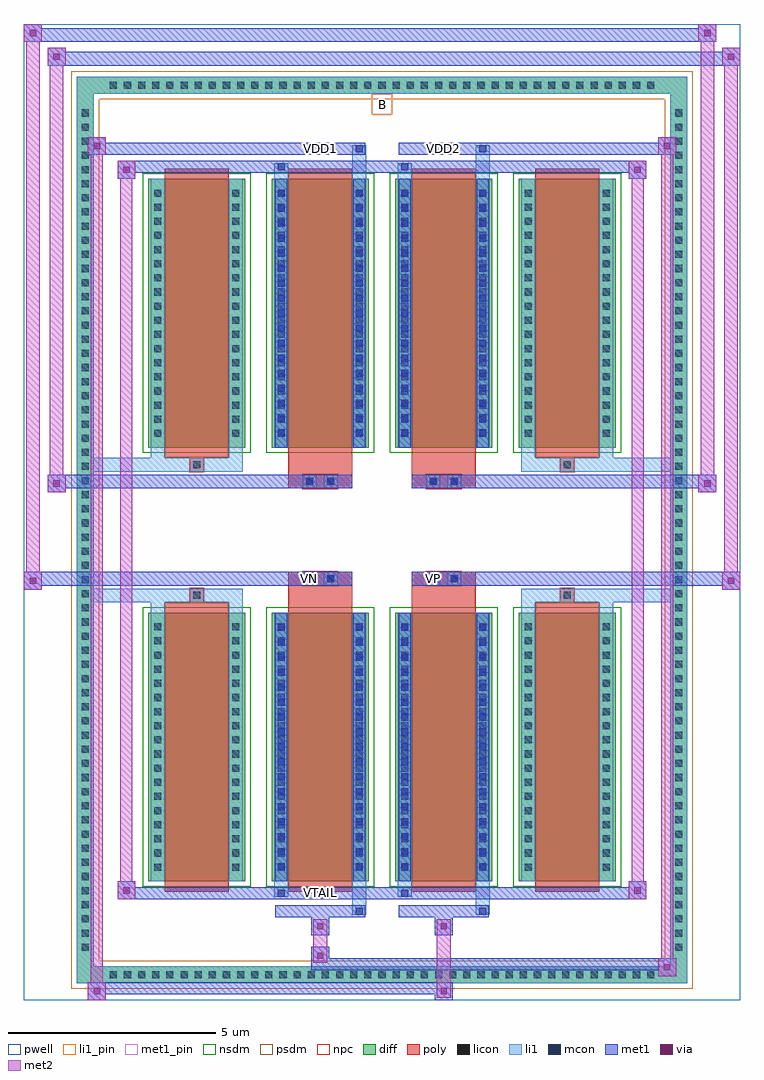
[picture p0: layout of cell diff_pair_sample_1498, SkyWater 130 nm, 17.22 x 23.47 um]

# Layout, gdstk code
import gdstk
lib = gdstk.Library(unit=1e-6, precision=5e-09)
def R(c, l, rs):  # rectangles x0, y0, x1, y1
    for r in rs: c.add(gdstk.rectangle(r[:2], r[2:], *l))
def A(c, l, x, y, w, h, nx, ny, dx, dy):  # array of equal rectangles
    R(c, l, [(x+i*dx, y+j*dy, x+i*dx+w, y+j*dy+h) for i in range(nx) for j in range(ny)])
def P(c, l, *ps):  # polygons
    for p in ps: c.add(gdstk.Polygon(p, *l))
pwell = (64, 44)
diff = (65, 20)
poly = (66, 20)
licon = (66, 44)
li1_pin = (67, 16)
li1 = (67, 20)
mcon = (67, 44)
met1_pin = (68, 16)
met1 = (68, 20)
via = (68, 44)
met2 = (69, 20)
nsdm = (93, 44)
psdm = (94, 20)
npc = (95, 20)

diff_pair_sample_1498 = lib.new_cell('diff_pair_sample_1498')
R(diff_pair_sample_1498, pwell, [(-8.61,-11.3,8.61,12.17), (-5.93,-9.49,-0.01,-0.805), (0.01,-9.49,5.93,-0.805), (-5.93,0.805,-0.01,9.49), (0.01,0.805,5.93,9.49)])
A(diff_pair_sample_1498, diff, -6.665, -10.9, 0.41, 0.41, 39, 2, 0.34, 21.39)
A(diff_pair_sample_1498, diff, -7.34, -10.235, 0.41, 0.41, 1, 60, 0, 0.34)
A(diff_pair_sample_1498, diff, 6.93, -10.235, 0.41, 0.41, 1, 60, 0, 0.34)
A(diff_pair_sample_1498, diff, -5.62, -8.445, 2.33, 6.46, 4, 2, 2.97, 10.43)
R(diff_pair_sample_1498, diff, [(-6.665,-10.9,6.665,-10.49), (-7.34,-10.235,-6.93,10.235), (6.93,-10.235,7.34,10.235), (-6.665,10.49,6.665,10.9)])
P(diff_pair_sample_1498, diff, [(7.34,10.9),(-7.34,10.9),(-7.34,-10.49),(-6.93,-10.49),(-6.93,10.49),(6.93,10.49),(6.93,-10.49),(-6.93,-10.49),(-7.34,-10.49),(-7.34,-10.9),(7.34,-10.9)])
A(diff_pair_sample_1498, poly, -5.23, -8.695, 1.55, 6.96, 4, 2, 2.97, 10.43)
R(diff_pair_sample_1498, poly, [(-4.62,-1.735,-4.29,-1.405), (-4.62,-1.735,-4.29,-1.405), (-2.26,-1.735,-0.71,-1.335), (0.71,-1.735,2.26,-1.335), (4.29,-1.735,4.62,-1.405), (4.29,-1.735,4.62,-1.405), (-2.26,-1.335,-0.71,-1.005), (-1.9,-1.335,-1.57,-1.005), (-1.4,-1.335,-1.07,-1.005), (0.71,-1.335,2.26,-1.005), (1.07,-1.335,1.4,-1.005), (1.57,-1.335,1.9,-1.005), (-2.26,1.005,-0.71,1.335), (-1.9,1.005,-1.57,1.335), (-1.4,1.005,-1.07,1.335), (0.71,1.005,2.26,1.335), (1.07,1.005,1.4,1.335), (1.57,1.005,1.9,1.335), (-2.26,1.335,-0.71,1.735), (0.71,1.335,2.26,1.735), (-4.62,1.405,-4.29,1.735), (-4.62,1.405,-4.29,1.735), (4.29,1.405,4.62,1.735), (4.29,1.405,4.62,1.735)])
A(diff_pair_sample_1498, licon, -6.545, -10.78, 0.17, 0.17, 39, 2, 0.34, 21.39)
A(diff_pair_sample_1498, licon, -7.22, -10.115, 0.17, 0.17, 1, 60, 0, 0.34)
A(diff_pair_sample_1498, licon, 7.05, -10.115, 0.17, 0.17, 1, 60, 0, 0.34)
A(diff_pair_sample_1498, licon, -5.48, -8.19, 0.17, 0.17, 1, 18, 0, 0.34)
A(diff_pair_sample_1498, licon, -3.6, -8.19, 0.17, 0.17, 1, 18, 0, 0.34)
A(diff_pair_sample_1498, licon, -2.51, -8.19, 0.17, 0.17, 1, 18, 0, 0.34)
A(diff_pair_sample_1498, licon, -0.63, -8.19, 0.17, 0.17, 1, 18, 0, 0.34)
A(diff_pair_sample_1498, licon, 0.46, -8.19, 0.17, 0.17, 1, 18, 0, 0.34)
A(diff_pair_sample_1498, licon, 2.34, -8.19, 0.17, 0.17, 1, 18, 0, 0.34)
A(diff_pair_sample_1498, licon, 3.43, -8.19, 0.17, 0.17, 1, 18, 0, 0.34)
A(diff_pair_sample_1498, licon, 5.31, -8.19, 0.17, 0.17, 1, 18, 0, 0.34)
A(diff_pair_sample_1498, licon, -5.48, 2.24, 0.17, 0.17, 1, 18, 0, 0.34)
A(diff_pair_sample_1498, licon, -3.6, 2.24, 0.17, 0.17, 1, 18, 0, 0.34)
A(diff_pair_sample_1498, licon, -2.51, 2.24, 0.17, 0.17, 1, 18, 0, 0.34)
A(diff_pair_sample_1498, licon, -0.63, 2.24, 0.17, 0.17, 1, 18, 0, 0.34)
A(diff_pair_sample_1498, licon, 0.46, 2.24, 0.17, 0.17, 1, 18, 0, 0.34)
A(diff_pair_sample_1498, licon, 2.34, 2.24, 0.17, 0.17, 1, 18, 0, 0.34)
A(diff_pair_sample_1498, licon, 3.43, 2.24, 0.17, 0.17, 1, 18, 0, 0.34)
A(diff_pair_sample_1498, licon, 5.31, 2.24, 0.17, 0.17, 1, 18, 0, 0.34)
R(diff_pair_sample_1498, licon, [(-4.54,-1.655,-4.37,-1.485), (4.37,-1.655,4.54,-1.485), (-1.82,-1.255,-1.65,-1.085), (-1.32,-1.255,-1.15,-1.085), (1.15,-1.255,1.32,-1.085), (1.65,-1.255,1.82,-1.085), (-1.82,1.085,-1.65,1.255), (-1.32,1.085,-1.15,1.255), (1.15,1.085,1.32,1.255), (1.65,1.085,1.82,1.255), (-4.54,1.485,-4.37,1.655), (4.37,1.485,4.54,1.655)])
R(diff_pair_sample_1498, li1_pin, [(-0.25,9.99,0.25,10.49)])
A(diff_pair_sample_1498, li1, -6.625, -10.86, 0.33, 0.33, 39, 2, 0.34, 21.39)
A(diff_pair_sample_1498, li1, -7.3, -10.195, 0.33, 0.33, 1, 60, 0, 0.34)
A(diff_pair_sample_1498, li1, 6.97, -10.195, 0.33, 0.33, 1, 60, 0, 0.34)
A(diff_pair_sample_1498, li1, -5.56, -8.27, 0.33, 0.33, 1, 18, 0, 0.34)
A(diff_pair_sample_1498, li1, -3.68, -8.27, 0.33, 0.33, 1, 18, 0, 0.34)
A(diff_pair_sample_1498, li1, -2.59, -8.27, 0.33, 0.33, 1, 18, 0, 0.34)
A(diff_pair_sample_1498, li1, -0.71, -8.27, 0.33, 0.33, 1, 18, 0, 0.34)
A(diff_pair_sample_1498, li1, 0.38, -8.27, 0.33, 0.33, 1, 18, 0, 0.34)
A(diff_pair_sample_1498, li1, 2.26, -8.27, 0.33, 0.33, 1, 18, 0, 0.34)
A(diff_pair_sample_1498, li1, 3.35, -8.27, 0.33, 0.33, 1, 18, 0, 0.34)
A(diff_pair_sample_1498, li1, 5.23, -8.27, 0.33, 0.33, 1, 18, 0, 0.34)
A(diff_pair_sample_1498, li1, -2.51, -8.18, 0.17, 0.17, 1, 17, 0, 0.36)
A(diff_pair_sample_1498, li1, -0.63, -8.18, 0.17, 0.17, 1, 17, 0, 0.36)
A(diff_pair_sample_1498, li1, 0.46, -8.18, 0.17, 0.17, 1, 17, 0, 0.36)
A(diff_pair_sample_1498, li1, 2.34, -8.18, 0.17, 0.17, 1, 17, 0, 0.36)
A(diff_pair_sample_1498, li1, -5.56, 2.16, 0.33, 0.33, 1, 18, 0, 0.34)
A(diff_pair_sample_1498, li1, -3.68, 2.16, 0.33, 0.33, 1, 18, 0, 0.34)
A(diff_pair_sample_1498, li1, -2.59, 2.16, 0.33, 0.33, 1, 18, 0, 0.34)
A(diff_pair_sample_1498, li1, -0.71, 2.16, 0.33, 0.33, 1, 18, 0, 0.34)
A(diff_pair_sample_1498, li1, 0.38, 2.16, 0.33, 0.33, 1, 18, 0, 0.34)
A(diff_pair_sample_1498, li1, 2.26, 2.16, 0.33, 0.33, 1, 18, 0, 0.34)
A(diff_pair_sample_1498, li1, 3.35, 2.16, 0.33, 0.33, 1, 18, 0, 0.34)
A(diff_pair_sample_1498, li1, 5.23, 2.16, 0.33, 0.33, 1, 18, 0, 0.34)
A(diff_pair_sample_1498, li1, -2.51, 2.25, 0.17, 0.17, 1, 17, 0, 0.36)
A(diff_pair_sample_1498, li1, -0.63, 2.25, 0.17, 0.17, 1, 17, 0, 0.36)
A(diff_pair_sample_1498, li1, 0.46, 2.25, 0.17, 0.17, 1, 17, 0, 0.36)
A(diff_pair_sample_1498, li1, 2.34, 2.25, 0.17, 0.17, 1, 17, 0, 0.36)
R(diff_pair_sample_1498, li1, [(-7.34,-10.9,-6.93,-10.49), (-7.34,-10.9,-6.93,-10.49), (-6.93,-10.9,6.93,-10.49), (6.93,-10.9,7.34,-10.49), (6.93,-10.9,7.34,-10.49), (-7.34,-10.49,-6.93,10.49), (6.93,-10.49,7.34,10.49), (-0.71,-9.25,-0.38,-8.445), (-0.63,-9.25,-0.46,-9.08), (2.26,-9.25,2.59,-8.445), (2.34,-9.25,2.51,-9.08), (-2.59,-8.82,-2.26,-8.445), (-2.51,-8.82,-2.34,-8.65), (0.38,-8.82,0.71,-8.445), (0.46,-8.82,0.63,-8.65), (-5.56,-8.445,-5.23,-1.985), (-3.68,-8.445,-3.35,-1.985), (-2.59,-8.445,-2.26,-1.985), (-0.71,-8.445,-0.38,-1.985), (0.38,-8.445,0.71,-1.985), (2.26,-8.445,2.59,-1.985), (3.35,-8.445,3.68,-1.985), (5.23,-8.445,5.56,-1.985), (-2.51,-8.18,-2.34,-2.25), (-0.63,-8.18,-0.46,-2.25), (0.46,-8.18,0.63,-2.25), (2.34,-8.18,2.51,-2.25), (-5.56,-1.985,-5.23,-1.405), (-3.68,-1.985,-3.35,-1.405), (3.35,-1.985,3.68,-1.405), (5.23,-1.985,5.56,-1.405), (-7.34,-1.735,-4.62,-1.405), (-5.56,-1.735,-4.62,-1.405), (-4.62,-1.735,-4.29,-1.405), (-4.29,-1.735,-3.35,-1.405), (3.35,-1.735,4.29,-1.405), (4.29,-1.735,4.62,-1.405), (4.29,-1.735,7.34,-1.405), (4.62,-1.735,5.56,-1.405), (-1.9,-1.335,-1.57,-1.005), (-1.4,-1.335,-1.07,-1.005), (1.07,-1.335,1.4,-1.005), (1.57,-1.335,1.9,-1.005), (-1.9,1.005,-1.57,1.335), (-1.4,1.005,-1.07,1.335), (1.07,1.005,1.4,1.335), (1.57,1.005,1.9,1.335), (-7.34,1.405,-4.62,1.735), (-5.56,1.405,-4.62,1.735), (-5.56,1.405,-5.23,1.985), (-4.62,1.405,-4.29,1.735), (-4.29,1.405,-3.35,1.735), (-3.68,1.405,-3.35,1.985), (3.35,1.405,4.29,1.735), (3.35,1.405,3.68,1.985), (4.29,1.405,4.62,1.735), (4.29,1.405,7.34,1.735), (4.62,1.405,5.56,1.735), (5.23,1.405,5.56,1.985), (-5.56,1.985,-5.23,8.445), (-3.68,1.985,-3.35,8.445), (-2.59,1.985,-2.26,8.445), (-0.71,1.985,-0.38,8.445), (0.38,1.985,0.71,8.445), (2.26,1.985,2.59,8.445), (3.35,1.985,3.68,8.445), (5.23,1.985,5.56,8.445), (-2.51,2.25,-2.34,8.18), (-0.63,2.25,-0.46,8.18), (0.46,2.25,0.63,8.18), (2.34,2.25,2.51,8.18), (-2.59,8.445,-2.26,8.82), (-0.71,8.445,-0.38,9.25), (0.38,8.445,0.71,8.82), (2.26,8.445,2.59,9.25), (-2.51,8.65,-2.34,8.82), (0.46,8.65,0.63,8.82), (-0.63,9.08,-0.46,9.25), (2.34,9.08,2.51,9.25), (-7.34,10.49,-6.93,10.9), (-7.34,10.49,-6.93,10.9), (-6.93,10.49,6.93,10.9), (6.93,10.49,7.34,10.9), (6.93,10.49,7.34,10.9)])
A(diff_pair_sample_1498, mcon, -2.51, -8.18, 0.17, 0.17, 1, 17, 0, 0.36)
A(diff_pair_sample_1498, mcon, -0.63, -8.18, 0.17, 0.17, 1, 17, 0, 0.36)
A(diff_pair_sample_1498, mcon, 0.46, -8.18, 0.17, 0.17, 1, 17, 0, 0.36)
A(diff_pair_sample_1498, mcon, 2.34, -8.18, 0.17, 0.17, 1, 17, 0, 0.36)
A(diff_pair_sample_1498, mcon, -2.51, 2.25, 0.17, 0.17, 1, 17, 0, 0.36)
A(diff_pair_sample_1498, mcon, -0.63, 2.25, 0.17, 0.17, 1, 17, 0, 0.36)
A(diff_pair_sample_1498, mcon, 0.46, 2.25, 0.17, 0.17, 1, 17, 0, 0.36)
A(diff_pair_sample_1498, mcon, 2.34, 2.25, 0.17, 0.17, 1, 17, 0, 0.36)
R(diff_pair_sample_1498, mcon, [(-0.63,-9.25,-0.46,-9.08), (2.34,-9.25,2.51,-9.08), (-2.51,-8.82,-2.34,-8.65), (0.46,-8.82,0.63,-8.65), (-1.82,-1.255,-1.65,-1.085), (-1.32,-1.255,-1.15,-1.085), (1.15,-1.255,1.32,-1.085), (1.65,-1.255,1.82,-1.085), (-1.82,1.085,-1.65,1.255), (-1.32,1.085,-1.15,1.255), (1.15,1.085,1.32,1.255), (1.65,1.085,1.82,1.255), (-2.51,8.65,-2.34,8.82), (0.46,8.65,0.63,8.82), (-0.63,9.08,-0.46,9.25), (2.34,9.08,2.51,9.25)])
R(diff_pair_sample_1498, met1_pin, [(-1.62,-8.86,-1.35,-8.59), (-1.87,-1.295,-1.6,-1.025), (1.1,-1.295,1.37,-1.025), (-1.62,9.04,-1.35,9.31), (1.35,9.04,1.62,9.31)])
A(diff_pair_sample_1498, met1, -2.57, -8.24, 0.29, 0.29, 1, 17, 0, 0.36)
A(diff_pair_sample_1498, met1, -0.69, -8.24, 0.29, 0.29, 1, 17, 0, 0.36)
A(diff_pair_sample_1498, met1, 0.4, -8.24, 0.29, 0.29, 1, 17, 0, 0.36)
A(diff_pair_sample_1498, met1, 2.28, -8.24, 0.29, 0.29, 1, 17, 0, 0.36)
A(diff_pair_sample_1498, met1, -2.57, 2.19, 0.29, 0.29, 1, 17, 0, 0.36)
A(diff_pair_sample_1498, met1, -0.69, 2.19, 0.29, 0.29, 1, 17, 0, 0.36)
A(diff_pair_sample_1498, met1, 0.4, 2.19, 0.29, 0.29, 1, 17, 0, 0.36)
A(diff_pair_sample_1498, met1, 2.28, 2.19, 0.29, 0.29, 1, 17, 0, 0.36)
R(diff_pair_sample_1498, met1, [(-7.07,-11.3,-6.64,-10.87), (1.27,-11.3,1.7,-10.87), (-7.07,-11.16,1.7,-10.87), (6.64,-10.73,7.07,-10.3), (-1.7,-10.59,7.07,-10.3), (-1.7,-10.45,-1.27,-10.02), (-1.7,-9.74,-1.27,-9.31), (1.27,-9.74,1.7,-9.31), (-2.57,-9.31,-0.4,-9.02), (-0.69,-9.31,-0.4,-9.02), (0.4,-9.31,2.57,-9.02), (2.28,-9.31,2.57,-9.02), (-6.36,-8.88,-5.93,-8.45), (-6.36,-8.88,-2.57,-8.59), (-2.57,-8.88,-2.28,-8.59), (-2.57,-8.88,-0.4,-8.59), (-0.4,-8.88,0.4,-8.59), (0.4,-8.88,0.69,-8.59), (0.4,-8.88,2.57,-8.59), (2.57,-8.88,6.36,-8.59), (5.93,-8.88,6.36,-8.45), (-2.57,-8.445,-2.28,-1.985), (-0.69,-8.445,-0.4,-1.985), (0.4,-8.445,0.69,-1.985), (2.28,-8.445,2.57,-1.985), (-8.61,-1.435,-8.18,-1.005), (8.18,-1.435,8.61,-1.005), (-8.61,-1.335,-0.71,-1.005), (-2.26,-1.335,-0.71,-1.005), (0.71,-1.335,2.26,-1.005), (0.71,-1.335,8.61,-1.005), (-1.88,-1.315,-1.59,-1.025), (-1.38,-1.315,-1.09,-1.025), (1.09,-1.315,1.38,-1.025), (1.59,-1.315,1.88,-1.025), (-8.04,0.905,-7.61,1.335), (7.61,0.905,8.04,1.335), (-8.04,1.005,-2.26,1.335), (-2.26,1.005,-0.71,1.335), (0.71,1.005,2.26,1.335), (2.26,1.005,8.04,1.335), (-1.88,1.025,-1.59,1.315), (-1.38,1.025,-1.09,1.315), (1.09,1.025,1.38,1.315), (1.59,1.025,1.88,1.315), (-2.57,1.985,-2.28,8.445), (-0.69,1.985,-0.4,8.445), (0.4,1.985,0.69,8.445), (2.28,1.985,2.57,8.445), (-6.36,8.45,-5.93,8.88), (5.93,8.45,6.36,8.88), (-6.36,8.59,-2.57,8.88), (-2.57,8.59,-2.28,8.88), (-2.57,8.59,-0.4,8.88), (-0.4,8.59,0.4,8.88), (0.4,8.59,0.69,8.88), (0.4,8.59,2.57,8.88), (2.57,8.59,6.36,8.88), (-7.07,9.02,-6.64,9.45), (-7.07,9.02,-2.57,9.31), (-2.57,9.02,-0.4,9.31), (-0.69,9.02,-0.4,9.31), (0.4,9.02,2.57,9.31), (2.28,9.02,2.57,9.31), (2.57,9.02,7.07,9.31), (6.64,9.02,7.07,9.45), (-8.04,11.17,-7.61,11.6), (-8.04,11.17,-5.93,11.5), (-5.93,11.17,5.93,11.5), (5.93,11.17,8.61,11.5), (8.18,11.17,8.61,11.6), (-8.61,11.74,-8.18,12.17), (-8.61,11.74,-5.93,12.07), (-5.93,11.74,5.93,12.07), (5.93,11.74,8.04,12.07), (7.61,11.74,8.04,12.17)])
R(diff_pair_sample_1498, via, [(-6.93,-11.16,-6.78,-11.01), (1.41,-11.16,1.56,-11.01), (6.78,-10.59,6.93,-10.44), (-1.56,-10.31,-1.41,-10.16), (-1.56,-9.6,-1.41,-9.45), (1.41,-9.6,1.56,-9.45), (-6.22,-8.74,-6.07,-8.59), (6.07,-8.74,6.22,-8.59), (-8.47,-1.295,-8.32,-1.145), (8.32,-1.295,8.47,-1.145), (-7.9,1.045,-7.75,1.195), (7.75,1.045,7.9,1.195), (-6.22,8.59,-6.07,8.74), (6.07,8.59,6.22,8.74), (-6.93,9.16,-6.78,9.31), (6.78,9.16,6.93,9.31), (-7.9,11.31,-7.75,11.46), (8.32,11.31,8.47,11.46), (-8.47,11.88,-8.32,12.03), (7.75,11.88,7.9,12.03)])
R(diff_pair_sample_1498, met2, [(-7.07,-11.3,-6.64,-10.87), (-7,-11.3,-6.71,9.45), (-6.71,-11.3,-6.64,-10.87), (-7.02,-11.25,-6.69,-10.92), (1.32,-11.25,1.65,-10.92), (1.32,-10.92,1.65,-9.69), (6.64,-10.73,7.07,-10.3), (6.71,-10.73,7,9.45), (7,-10.73,7.07,-10.3), (6.69,-10.68,7.02,-10.35), (-1.65,-10.4,-1.32,-10.07), (-1.65,-10.07,-1.32,-9.69), (-1.65,-9.69,-1.32,-9.36), (1.32,-9.69,1.65,-9.36), (-6.36,-8.88,-5.93,-8.45), (-6.29,-8.88,-6,8.88), (-6,-8.88,-5.93,-8.45), (5.93,-8.88,6.36,-8.45), (6,-8.88,6.29,8.88), (6.29,-8.88,6.36,-8.45), (-6.31,-8.83,-5.98,-8.5), (5.98,-8.83,6.31,-8.5), (-8.61,-1.435,-8.18,-1.005), (-8.56,-1.435,-8.23,12.17), (-8.23,-1.435,-8.18,-1.005), (8.18,-1.435,8.61,-1.005), (8.23,-1.435,8.56,11.6), (8.56,-1.435,8.61,-1.005), (-8.56,-1.385,-8.23,-1.055), (8.23,-1.385,8.56,-1.055), (-8.04,0.905,-7.61,1.335), (-7.99,0.905,-7.66,11.6), (-7.66,0.905,-7.61,1.335), (7.61,0.905,8.04,1.335), (7.66,0.905,7.99,12.17), (7.99,0.905,8.04,1.335), (-7.99,0.955,-7.66,1.285), (7.66,0.955,7.99,1.285), (-6.36,8.45,-5.93,8.88), (-6,8.45,-5.93,8.88), (5.93,8.45,6.36,8.88), (6.29,8.45,6.36,8.88), (-6.31,8.5,-5.98,8.83), (5.98,8.5,6.31,8.83), (-7.07,9.02,-6.64,9.45), (-6.71,9.02,-6.64,9.45), (6.64,9.02,7.07,9.45), (7,9.02,7.07,9.45), (-7.02,9.07,-6.69,9.4), (6.69,9.07,7.02,9.4), (-8.04,11.17,-7.61,11.6), (-7.66,11.17,-7.61,11.6), (8.18,11.17,8.61,11.6), (8.56,11.17,8.61,11.6), (-7.99,11.22,-7.66,11.55), (8.23,11.22,8.56,11.55), (-8.61,11.74,-8.18,12.17), (-8.23,11.74,-8.18,12.17), (7.61,11.74,8.04,12.17), (7.99,11.74,8.04,12.17), (-8.56,11.79,-8.23,12.12), (7.66,11.79,7.99,12.12)])
A(diff_pair_sample_1498, nsdm, -5.75, -8.575, 2.59, 6.72, 4, 2, 2.97, 10.43)
P(diff_pair_sample_1498, psdm, [(7.47,11.03),(-7.47,11.03),(-7.47,-10.36),(-6.8,-10.36),(-6.8,10.36),(6.8,10.36),(6.8,-10.36),(-6.8,-10.36),(-7.47,-10.36),(-7.47,-11.03),(7.47,-11.03)])
R(diff_pair_sample_1498, npc, [(-4.64,-1.755,-4.27,-1.385), (4.27,-1.755,4.64,-1.385), (-1.92,-1.355,-1.55,-0.985), (-1.92,-1.355,-1.05,-0.985), (-1.92,-1.355,-1.05,-0.985), (-1.42,-1.355,-1.05,-0.985), (1.05,-1.355,1.42,-0.985), (1.05,-1.355,1.92,-0.985), (1.05,-1.355,1.92,-0.985), (1.55,-1.355,1.92,-0.985), (-1.92,0.985,-1.55,1.355), (-1.92,0.985,-1.05,1.355), (-1.92,0.985,-1.05,1.355), (-1.42,0.985,-1.05,1.355), (1.05,0.985,1.42,1.355), (1.05,0.985,1.92,1.355), (1.05,0.985,1.92,1.355), (1.55,0.985,1.92,1.355), (-4.64,1.385,-4.27,1.755), (4.27,1.385,4.64,1.755)])
diff_pair_sample_1498.add(gdstk.Label('VTAIL', (-1.485,-8.725), layer=68, texttype=5))
diff_pair_sample_1498.add(gdstk.Label('VN', (-1.735,-1.16), layer=68, texttype=5))
diff_pair_sample_1498.add(gdstk.Label('VP', (1.235,-1.16), layer=68, texttype=5))
diff_pair_sample_1498.add(gdstk.Label('B', (0,10.24), layer=67, texttype=5))
diff_pair_sample_1498.add(gdstk.Label('VDD2', (1.485,9.175), layer=68, texttype=5))
diff_pair_sample_1498.add(gdstk.Label('VDD1', (-1.485,9.175), layer=68, texttype=5))

lib.write_gds('diff_pair_sample_1498.gds')
